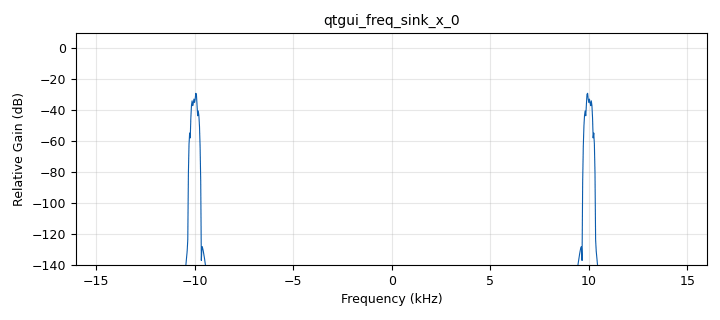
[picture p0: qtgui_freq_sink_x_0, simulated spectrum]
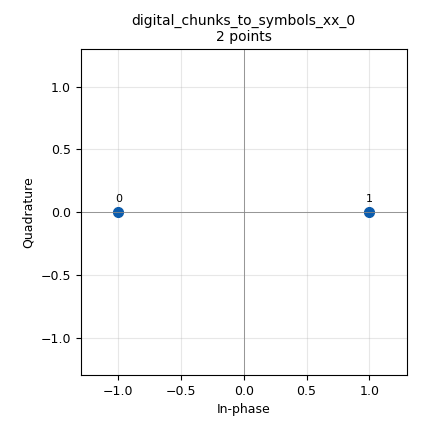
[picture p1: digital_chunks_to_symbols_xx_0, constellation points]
options:
  parameters:
    author: native
    generate_options: qt_gui
    id: test3
    output_language: python
    title: Not titled yet
  states: {}

blocks:
- name: bpsk
  id: variable
  parameters:
    value: '[-1,+1]'
  states: {}
- name: fc
  id: variable
  parameters:
    value: '10000'
  states: {}
- name: gain
  id: variable
  parameters:
    value: '20'
  states: {}
- name: over
  id: variable
  parameters:
    value: '100'
  states: {}
- name: qpsk
  id: variable
  parameters:
    value: '[-1-1j,-1+1j,1+1j,1-1j]'
  states: {}
- name: samp_rate
  id: variable
  parameters:
    value: '32000'
  states: {}
- name: symb_rate
  id: variable
  parameters:
    value: samp_rate/over
  states: {}
- name: analog_random_source_x_0
  id: analog_random_source_x
  parameters:
    max: '2'
    min: '0'
    num_samps: '1000000'
    repeat: 'True'
    type: int
  states: {}
- name: analog_random_source_x_0_0
  id: analog_random_source_x
  parameters:
    max: '2'
    min: '0'
    num_samps: '1000000'
    repeat: 'True'
    type: int
  states: {}
- name: analog_sig_source_x_0_1
  id: analog_sig_source_x
  parameters:
    amp: '1'
    freq: fc
    offset: '0'
    phase: '0'
    samp_rate: samp_rate
    type: float
    waveform: analog.GR_COS_WAVE
  states: {}
- name: analog_sig_source_x_0_1_0
  id: analog_sig_source_x
  parameters:
    amp: '1'
    freq: fc
    offset: '0'
    phase: '0'
    samp_rate: samp_rate
    type: float
    waveform: analog.GR_SIN_WAVE
  states: {}
- name: blocks_add_xx_0
  id: blocks_add_xx
  parameters:
    type: float
  states: {}
- name: blocks_multiply_xx_0
  id: blocks_multiply_xx
  parameters:
    type: float
  states: {}
- name: blocks_multiply_xx_0_0
  id: blocks_multiply_xx
  parameters:
    type: float
  states: {}
- name: digital_chunks_to_symbols_xx_0
  id: digital_chunks_to_symbols_xx
  parameters:
    dimension: '1'
    in_type: int
    out_type: float
    symbol_table: bpsk
  states: {}
- name: digital_chunks_to_symbols_xx_0_0
  id: digital_chunks_to_symbols_xx
  parameters:
    dimension: '1'
    in_type: int
    out_type: float
    symbol_table: bpsk
  states: {}
- name: qtgui_freq_sink_x_0
  id: qtgui_freq_sink_x
  parameters:
    bw: samp_rate
    fc: '0'
    fftsize: '1024'
    type: float
  states: {}
- name: root_raised_cosine_filter_0_1
  id: root_raised_cosine_filter
  parameters:
    alpha: '0.5'
    gain: gain
    interp: over
    ntaps: 11*samp_rate
    samp_rate: samp_rate
    sym_rate: symb_rate
    type: interp_fir_filter_fff
  states: {}
- name: root_raised_cosine_filter_0_1_0
  id: root_raised_cosine_filter
  parameters:
    alpha: '0.5'
    gain: gain
    interp: over
    ntaps: 11*samp_rate
    samp_rate: samp_rate
    sym_rate: symb_rate
    type: interp_fir_filter_fff
  states: {}

connections:
- [analog_random_source_x_0, '0', digital_chunks_to_symbols_xx_0, '0']
- [analog_random_source_x_0_0, '0', digital_chunks_to_symbols_xx_0_0, '0']
- [analog_sig_source_x_0_1, '0', blocks_multiply_xx_0, '1']
- [analog_sig_source_x_0_1_0, '0', blocks_multiply_xx_0_0, '1']
- [blocks_add_xx_0, '0', qtgui_freq_sink_x_0, '0']
- [blocks_multiply_xx_0, '0', blocks_add_xx_0, '0']
- [blocks_multiply_xx_0_0, '0', blocks_add_xx_0, '1']
- [digital_chunks_to_symbols_xx_0, '0', root_raised_cosine_filter_0_1, '0']
- [digital_chunks_to_symbols_xx_0_0, '0', root_raised_cosine_filter_0_1_0, '0']
- [root_raised_cosine_filter_0_1, '0', blocks_multiply_xx_0, '0']
- [root_raised_cosine_filter_0_1_0, '0', blocks_multiply_xx_0_0, '0']

metadata:
  file_format: 1
  grc_version: 3.10.9.2
